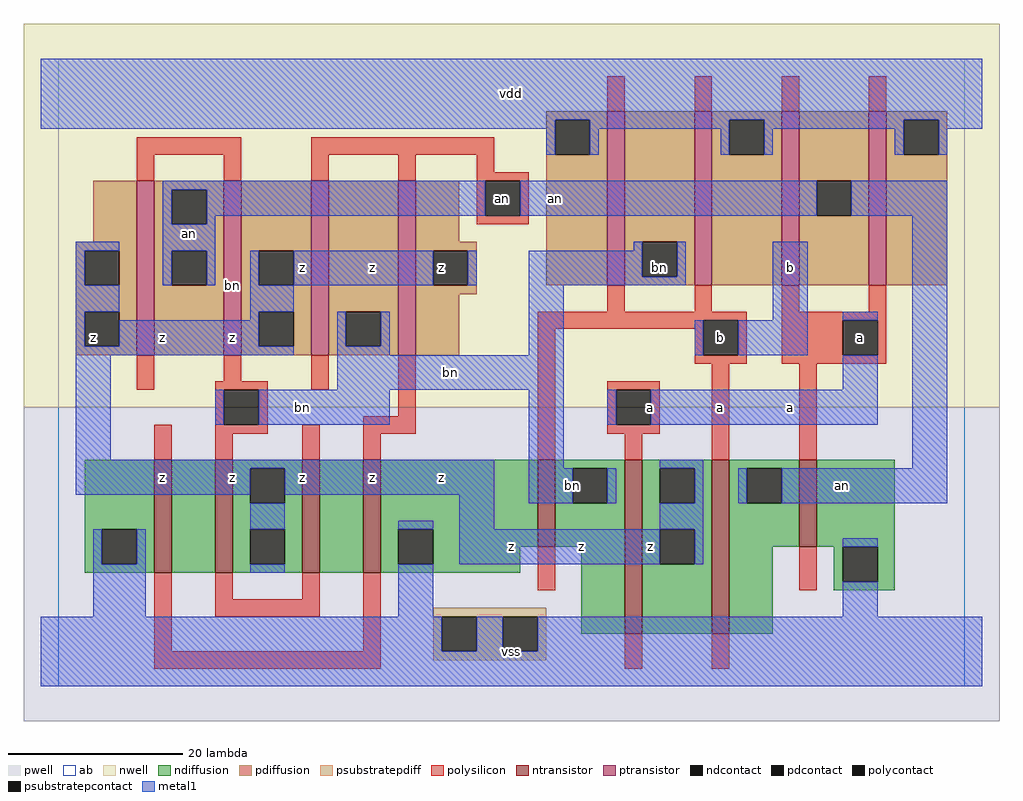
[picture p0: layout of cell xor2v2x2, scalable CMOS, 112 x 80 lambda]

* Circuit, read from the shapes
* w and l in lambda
.subckt xor2v2x2 a an b bn vdd vss z
M1 n1 an vss vss nfet w=13 l=2
M2 z bn n1 vss nfet w=13 l=2
M3 n2 bn z vss nfet w=13 l=2
M4 vss an n2 vss nfet w=13 l=2
M5 bn b vss vss nfet w=10 l=2
M6 z a bn vss nfet w=20 l=2
M7 an b z vss nfet w=20 l=2
M8 vss a an vss nfet w=10 l=2
M9 an bn z n3 pfet w=20 l=2 m=2
M10 bn an z n3 pfet w=20 l=2 m=2
M11 bn b vdd n3 pfet w=20 l=2 m=2
M12 an a vdd n3 pfet w=20 l=2 m=2
.ends

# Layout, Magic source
magic
tech scmos
<< ab >>
rect 0 0 104 72
<< pwell >>
rect -4 -4 108 32
<< nwell >>
rect -4 32 108 76
<< polysilicon >>
rect 63 66 65 70
rect 73 66 75 70
rect 83 66 85 70
rect 93 66 95 70
rect 9 61 21 63
rect 9 58 11 61
rect 19 58 21 61
rect 29 61 50 63
rect 29 58 31 61
rect 39 58 41 61
rect 48 59 50 61
rect 48 58 54 59
rect 48 54 49 58
rect 53 54 54 58
rect 48 53 54 54
rect 63 43 65 46
rect 73 43 75 46
rect 83 43 85 46
rect 93 43 95 46
rect 55 42 79 43
rect 55 41 74 42
rect 9 34 11 38
rect 19 35 21 38
rect 18 34 24 35
rect 29 34 31 38
rect 18 30 19 34
rect 23 30 24 34
rect 39 31 41 38
rect 11 26 13 30
rect 18 29 24 30
rect 18 26 20 29
rect 28 26 30 30
rect 35 29 41 31
rect 35 26 37 29
rect 55 26 57 41
rect 73 38 74 41
rect 78 38 79 42
rect 73 37 79 38
rect 83 42 95 43
rect 83 38 90 42
rect 94 38 95 42
rect 83 37 95 38
rect 63 34 69 35
rect 63 30 64 34
rect 68 30 69 34
rect 63 29 69 30
rect 65 26 67 29
rect 75 26 77 37
rect 85 26 87 37
rect 11 4 13 13
rect 18 10 20 13
rect 28 10 30 13
rect 18 8 30 10
rect 35 4 37 13
rect 55 11 57 16
rect 11 2 37 4
rect 85 11 87 16
rect 65 2 67 6
rect 75 2 77 6
<< ndiffusion >>
rect 3 18 11 26
rect 3 14 5 18
rect 9 14 11 18
rect 3 13 11 14
rect 13 13 18 26
rect 20 25 28 26
rect 20 21 22 25
rect 26 21 28 25
rect 20 18 28 21
rect 20 14 22 18
rect 26 14 28 18
rect 20 13 28 14
rect 30 13 35 26
rect 37 18 55 26
rect 37 14 39 18
rect 43 16 55 18
rect 57 25 65 26
rect 57 21 59 25
rect 63 21 65 25
rect 57 16 65 21
rect 43 14 53 16
rect 37 13 53 14
rect 60 6 65 16
rect 67 25 75 26
rect 67 21 69 25
rect 73 21 75 25
rect 67 18 75 21
rect 67 14 69 18
rect 73 14 75 18
rect 67 6 75 14
rect 77 25 85 26
rect 77 21 79 25
rect 83 21 85 25
rect 77 16 85 21
rect 87 16 96 26
rect 77 6 82 16
rect 89 12 90 16
rect 94 12 96 16
rect 89 11 96 12
<< pdiffusion >>
rect 56 65 63 66
rect 56 61 57 65
rect 61 61 63 65
rect 4 51 9 58
rect 2 50 9 51
rect 2 46 3 50
rect 7 46 9 50
rect 2 43 9 46
rect 2 39 3 43
rect 7 39 9 43
rect 2 38 9 39
rect 11 57 19 58
rect 11 53 13 57
rect 17 53 19 57
rect 11 50 19 53
rect 11 46 13 50
rect 17 46 19 50
rect 11 38 19 46
rect 21 50 29 58
rect 21 46 23 50
rect 27 46 29 50
rect 21 43 29 46
rect 21 39 23 43
rect 27 39 29 43
rect 21 38 29 39
rect 31 43 39 58
rect 31 39 33 43
rect 37 39 39 43
rect 31 38 39 39
rect 41 51 46 58
rect 41 50 48 51
rect 41 46 43 50
rect 47 46 48 50
rect 56 46 63 61
rect 65 51 73 66
rect 65 47 67 51
rect 71 47 73 51
rect 65 46 73 47
rect 75 65 83 66
rect 75 61 77 65
rect 81 61 83 65
rect 75 46 83 61
rect 85 58 93 66
rect 85 54 87 58
rect 91 54 93 58
rect 85 46 93 54
rect 95 65 102 66
rect 95 61 97 65
rect 101 61 102 65
rect 95 46 102 61
rect 41 45 48 46
rect 41 38 46 45
<< metal1 >>
rect -2 65 106 72
rect -2 64 57 65
rect 56 61 57 64
rect 61 64 77 65
rect 61 61 62 64
rect 76 61 77 64
rect 81 64 97 65
rect 81 61 82 64
rect 96 61 97 64
rect 101 64 106 65
rect 101 61 102 64
rect 12 57 49 58
rect 12 53 13 57
rect 17 54 49 57
rect 53 54 87 58
rect 91 54 102 58
rect 17 53 18 54
rect 2 50 7 51
rect 2 46 3 50
rect 12 50 18 53
rect 66 50 67 51
rect 12 46 13 50
rect 17 46 18 50
rect 22 46 23 50
rect 27 46 43 50
rect 47 46 48 50
rect 54 47 67 50
rect 71 47 72 51
rect 54 46 72 47
rect 2 43 7 46
rect 2 39 3 43
rect 22 43 27 46
rect 22 42 23 43
rect 7 39 23 42
rect 2 38 27 39
rect 32 39 33 43
rect 37 39 38 43
rect 32 38 38 39
rect 54 38 58 46
rect 82 42 86 51
rect 73 38 74 42
rect 78 38 86 42
rect 90 42 94 43
rect 2 26 6 38
rect 32 34 58 38
rect 90 34 94 38
rect 18 30 19 34
rect 23 30 38 34
rect 2 25 50 26
rect 2 22 22 25
rect 26 22 50 25
rect 22 18 26 21
rect 4 14 5 18
rect 9 14 10 18
rect 4 8 10 14
rect 22 13 26 14
rect 39 18 43 19
rect 46 18 50 22
rect 54 25 58 34
rect 63 30 64 34
rect 68 30 94 34
rect 69 25 74 26
rect 98 25 102 54
rect 54 21 59 25
rect 63 21 64 25
rect 73 21 74 25
rect 78 21 79 25
rect 83 21 102 25
rect 69 18 74 21
rect 46 14 69 18
rect 73 14 74 18
rect 90 16 94 17
rect 39 8 43 14
rect 90 8 94 12
rect -2 4 44 8
rect 48 4 51 8
rect 55 4 106 8
rect -2 0 106 4
<< ntransistor >>
rect 11 13 13 26
rect 18 13 20 26
rect 28 13 30 26
rect 35 13 37 26
rect 55 16 57 26
rect 65 6 67 26
rect 75 6 77 26
rect 85 16 87 26
<< ptransistor >>
rect 9 38 11 58
rect 19 38 21 58
rect 29 38 31 58
rect 39 38 41 58
rect 63 46 65 66
rect 73 46 75 66
rect 83 46 85 66
rect 93 46 95 66
<< polycontact >>
rect 49 54 53 58
rect 19 30 23 34
rect 74 38 78 42
rect 90 38 94 42
rect 64 30 68 34
<< ndcontact >>
rect 5 14 9 18
rect 22 21 26 25
rect 22 14 26 18
rect 39 14 43 18
rect 59 21 63 25
rect 69 21 73 25
rect 69 14 73 18
rect 79 21 83 25
rect 90 12 94 16
<< pdcontact >>
rect 57 61 61 65
rect 3 46 7 50
rect 3 39 7 43
rect 13 53 17 57
rect 13 46 17 50
rect 23 46 27 50
rect 23 39 27 43
rect 33 39 37 43
rect 43 46 47 50
rect 67 47 71 51
rect 77 61 81 65
rect 87 54 91 58
rect 97 61 101 65
<< psubstratepcontact >>
rect 44 4 48 8
rect 51 4 55 8
<< psubstratepdiff >>
rect 43 8 56 9
rect 43 4 44 8
rect 48 4 51 8
rect 55 4 56 8
rect 43 3 56 4
<< labels >>
rlabel ptransistor 20 46 20 46 6 bn
rlabel polycontact 51 56 51 56 6 an
rlabel metal1 12 24 12 24 6 z
rlabel pdcontact 4 40 4 40 6 z
rlabel metal1 12 40 12 40 6 z
rlabel metal1 15 52 15 52 6 an
rlabel metal1 20 24 20 24 6 z
rlabel metal1 28 24 28 24 6 z
rlabel metal1 36 24 36 24 6 z
rlabel metal1 28 32 28 32 6 bn
rlabel metal1 20 40 20 40 6 z
rlabel metal1 28 48 28 48 6 z
rlabel metal1 36 48 36 48 6 z
rlabel metal1 52 4 52 4 6 vss
rlabel metal1 60 16 60 16 6 z
rlabel metal1 52 16 52 16 6 z
rlabel metal1 44 24 44 24 6 z
rlabel metal1 45 36 45 36 6 bn
rlabel pdcontact 44 48 44 48 6 z
rlabel metal1 52 68 52 68 6 vdd
rlabel metal1 68 16 68 16 6 z
rlabel metal1 59 23 59 23 6 bn
rlabel metal1 76 32 76 32 6 a
rlabel metal1 68 32 68 32 6 a
rlabel polycontact 76 40 76 40 6 b
rlabel pdcontact 69 48 69 48 6 bn
rlabel metal1 90 23 90 23 6 an
rlabel metal1 84 32 84 32 6 a
rlabel polycontact 92 40 92 40 6 a
rlabel metal1 84 48 84 48 6 b
rlabel metal1 57 56 57 56 6 an
<< end >>
